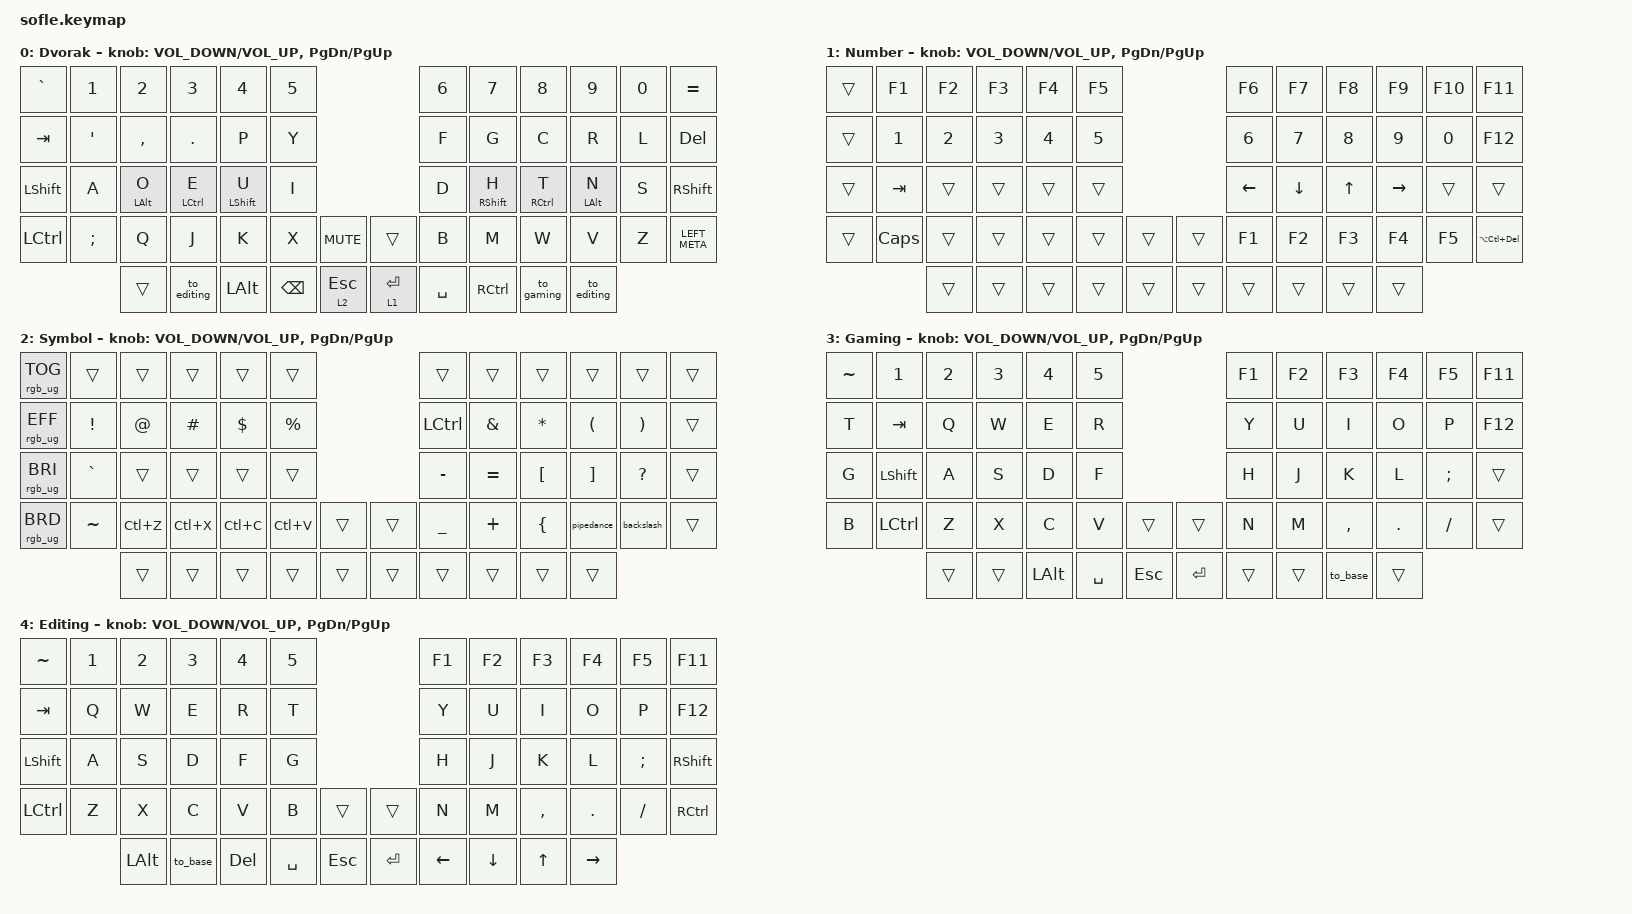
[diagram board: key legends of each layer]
/*
 * Copyright (c) 2020 The ZMK Contributors
 *
 * SPDX-License-Identifier: MIT
 */

#include <behaviors.dtsi>
#include <dt-bindings/zmk/keys.h>
#include <dt-bindings/zmk/rgb.h>

/ {
    macros {
        to_base: to_base {
            compatible = "zmk,behavior-macro";
            #binding-cells = <0>;
            bindings = <&to 0 &rgb_ug RGB_COLOR_HSB(0,100,50)>;
        };

        to_gaming: to_gaming {
            compatible = "zmk,behavior-macro";
            #binding-cells = <0>;
            bindings = <&to 3 &rgb_ug RGB_COLOR_HSB(137,100,37)>;
        };

        to_editing: to_editing {
            compatible = "zmk,behavior-macro";
            #binding-cells = <0>;
            bindings = <&to 4 &rgb_ug RGB_COLOR_HSB(234,100,50)>;
            label = "TO_EDITING";
        };
    };

    behaviors {
        hmr: hmr {
            compatible = "zmk,behavior-hold-tap";
            label = "HMR";
            bindings = <&kp>, <&kp>;

            #binding-cells = <2>;
            tapping-term-ms = <280>;
            quick-tap-ms = <175>;
            flavor = "balanced";
            hold-trigger-key-positions = <0 1 2 4 5 12 13 14 15 16 17 24 25 26 27 28 29 36 37 38 39 40 41 42 50 51 52 53 54 55 56 57 58 59 3>;
            hold-trigger-on-release;
        };

        hml: hml {
            compatible = "zmk,behavior-hold-tap";
            label = "HML";
            bindings = <&kp>, <&kp>;

            #binding-cells = <2>;
            tapping-term-ms = <280>;
            quick-tap-ms = <175>;
            flavor = "balanced";
            hold-trigger-key-positions = <50 51 52 53 54 55 6 7 8 9 10 11 18 19 20 21 22 23 30 31 32 33 34 35 43 44 45 46 47 48 49 58 56 57 59>;
            hold-trigger-on-release;
        };

        backslash: backslash {
            compatible = "zmk,behavior-tap-dance";
            label = "BACKSLASH";
            #binding-cells = <0>;
            bindings = <&kp SLASH>, <&kp BACKSLASH>;

            tapping-term-ms = <200>;
        };

        pipedance: pipedance {
            compatible = "zmk,behavior-tap-dance";
            label = "PIPEDANCE";
            #binding-cells = <0>;
            bindings = <&kp RIGHT_BRACE>, <&kp PIPE>;

            tapping-term-ms = <200>;
        };
    };

    keymap {
        compatible = "zmk,keymap";

        default_layer {
            label = "Dvorak";

            // ------------------------------------------------------------------------------------------------------------
            // |   `   |  1  |  2  |  3   |  4   |  5   |                   |  6   |  7    |  8    |  9   |   0   |       |
            // |  ESC  |  '  |  ,  |  .   |  P   |  Y   |                   |  F   |  G    |  C    |  R   |   L   | BKSPC |
            // |  TAB  |  A  |  O  |  E   |  U   |  I   |                   |  D   |  H    |  T    |  N   |   S   |   /   |
            // | SHIFT |  ;  |  Q  |  J   |  K   |  X   |  MUTE  |  |       |  B   |  M    |  W    |  V   |   Z   | SHIFT |
            //               | GUI | ALT  | CTRL | LOWER|  ENTER |  | SPACE | RAISE| CTRL  | ALT   | GUI  |

            bindings = <
&kp GRAVE  &kp N1    &kp N2           &kp N3        &kp N4        &kp N5                                    &kp N6     &kp N7         &kp N8        &kp N9           &kp N0  &kp EQUAL
&kp TAB    &kp SQT   &kp COMMA        &kp DOT       &kp P         &kp Y                                     &kp F      &kp G          &kp C         &kp R            &kp L   &kp DELETE
&kp LSHFT  &kp A     &hml LEFT_ALT O  &hml LCTRL E  &hml LSHFT U  &kp I                                     &kp D      &hmr RSHIFT H  &hmr RCTRL T  &hmr LEFT_ALT N  &kp S   &kp RIGHT_SHIFT
&kp LCTRL  &kp SEMI  &kp Q            &kp J         &kp K         &kp X          &kp C_MUTE    &trans       &kp B      &kp M          &kp W         &kp V            &kp Z   &kp LEFT_META
                     &trans           &to_editing   &kp LALT      &kp BACKSPACE  &lt 2 ESC     &lt 1 ENTER  &kp SPACE  &kp RCTRL      &to_gaming    &to_editing
            >;

            sensor-bindings =
                <&inc_dec_kp C_VOLUME_DOWN C_VOLUME_UP>,
                <&inc_dec_kp PAGE_DOWN PAGE_UP>;
        };

        lower_layer {
            label = "Number";

            // TODO: Some binds are waiting for shifted keycode support.
            // ------------------------------------------------------------------------------------------------------------
            // |       |  F1 |  F2 |  F3  |  F4  |  F5  |                   |  F6  |  F7   |  F8   |  F9  |  F10  |  F11  |
            // |   `   |  1  |  2  |  3   |  4   |  5   |                   |  6   |  7    |  8    |  9   |   0   |  F12  |
            // |       |  !  |  @  |  #   |  $   |  %   |                   |  ^   |  &    |  *    |  (   |   )   |   |   |
            // |       |  =  |  -  |  +   |  {   |  }   |        |  |       |  [   |  ]    |  ;    |  :   |   \   |       |
            //               |     |      |      |      |        |  |       |      |       |       |      |

            bindings = <
&trans  &kp F1        &kp F2  &kp F3  &kp F4  &kp F5                    &kp F6    &kp F7          &kp F8  &kp F9     &kp F10  &kp F11
&trans  &kp N1        &kp N2  &kp N3  &kp N4  &kp N5                    &kp N6    &kp N7          &kp N8  &kp N9     &kp N0   &kp F12
&trans  &kp TAB       &trans  &trans  &trans  &trans                    &kp LEFT  &kp DOWN_ARROW  &kp UP  &kp RIGHT  &trans   &trans
&trans  &kp CAPSLOCK  &trans  &trans  &trans  &trans  &trans    &trans  &kp F1    &kp F2          &kp F3  &kp F4     &kp F5   &kp LA(LC(DELETE))
                      &trans  &trans  &trans  &trans  &trans    &trans  &trans    &trans          &trans  &trans
            >;

            sensor-bindings =
                <&inc_dec_kp C_VOLUME_DOWN C_VOLUME_UP>,
                <&inc_dec_kp PAGE_DOWN PAGE_UP>;
        };

        raise_layer {
            label = "Symbol";

            // ------------------------------------------------------------------------------------------------------------
            // | BTCLR | BT1  | BT2  |  BT3  |  BT4  |  BT5 |                |      |      |       |      |       |       |
            // |       | INS  | PSCR | GUI   |       |      |                | PGUP |      |   ^   |      |       |       |
            // |       | ALT  | CTRL | SHIFT |       | CAPS |                | PGDN |   <- |   v   |  ->  |  DEL  | BKSPC |
            // |       | UNDO | CUT  | COPY  | PASTE |      |      |  |      |      |      |       |      |       |       |
            //                |      |       |       |      |      |  |      |      |      |       |      |

            bindings = <
&rgb_ug RGB_TOG  &trans           &trans       &trans     &trans      &trans                         &trans          &trans         &trans            &trans                &trans                 &trans
&rgb_ug RGB_EFF  &kp EXCLAMATION  &kp AT_SIGN  &kp HASH   &kp DOLLAR  &kp PERCENT                    &kp LCTRL       &kp AMPERSAND  &kp ASTERISK      &kp LEFT_PARENTHESIS  &kp RIGHT_PARENTHESIS  &trans
&rgb_ug RGB_BRI  &kp GRAVE        &trans       &trans     &trans      &trans                         &kp MINUS       &kp EQUAL      &kp LEFT_BRACKET  &kp RIGHT_BRACKET     &kp QUESTION           &trans
&rgb_ug RGB_BRD  &kp TILDE        &kp LC(Z)    &kp LC(X)  &kp LC(C)   &kp LC(V)    &trans    &trans  &kp UNDERSCORE  &kp PLUS       &kp LEFT_BRACE    &pipedance            &backslash             &trans
                                  &trans       &trans     &trans      &trans       &trans    &trans  &trans          &trans         &trans            &trans
            >;

            sensor-bindings =
                <&inc_dec_kp C_VOLUME_DOWN C_VOLUME_UP>,
                <&inc_dec_kp PAGE_DOWN PAGE_UP>;
        };

        gaming {
            label = "Gaming";
            bindings = <
&kp TILDE  &kp N1     &kp N2  &kp N3  &kp N4    &kp N5                         &kp F1  &kp F2  &kp F3     &kp F4   &kp F5    &kp F11
&kp T      &kp TAB    &kp Q   &kp W   &kp E     &kp R                          &kp Y   &kp U   &kp I      &kp O    &kp P     &kp F12
&kp G      &kp LSHFT  &kp A   &kp S   &kp D     &kp F                          &kp H   &kp J   &kp K      &kp L    &kp SEMI  &trans
&kp B      &kp LCTRL  &kp Z   &kp X   &kp C     &kp V      &trans     &trans   &kp N   &kp M   &kp COMMA  &kp DOT  &kp FSLH  &trans
                      &trans  &trans  &kp LALT  &kp SPACE  &kp ESC    &kp RET  &trans  &trans  &to_base   &trans
            >;

            sensor-bindings =
                <&inc_dec_kp C_VOLUME_DOWN C_VOLUME_UP>,
                <&inc_dec_kp PAGE_DOWN PAGE_UP>;
        };

        editing {
            label = "Editing";
            bindings = <
&kp TILDE  &kp N1  &kp N2        &kp N3    &kp N4      &kp N5                         &kp F1          &kp F2          &kp F3        &kp F4     &kp F5    &kp F11
&kp TAB    &kp Q   &kp W         &kp E     &kp R       &kp T                          &kp Y           &kp U           &kp I         &kp O      &kp P     &kp F12
&kp LSHFT  &kp A   &kp S         &kp D     &kp F       &kp G                          &kp H           &kp J           &kp K         &kp L      &kp SEMI  &kp RSHFT
&kp LCTRL  &kp Z   &kp X         &kp C     &kp V       &kp B      &trans     &trans   &kp N           &kp M           &kp COMMA     &kp DOT    &kp FSLH  &kp RCTRL
                   &kp LEFT_ALT  &to_base  &kp DELETE  &kp SPACE  &kp ESC    &kp RET  &kp LEFT_ARROW  &kp DOWN_ARROW  &kp UP_ARROW  &kp RIGHT
            >;

            sensor-bindings =
                <&inc_dec_kp C_VOLUME_DOWN C_VOLUME_UP>,
                <&inc_dec_kp PAGE_DOWN PAGE_UP>;
        };
    };
};

&led_strip { chain-length = <29>; };
